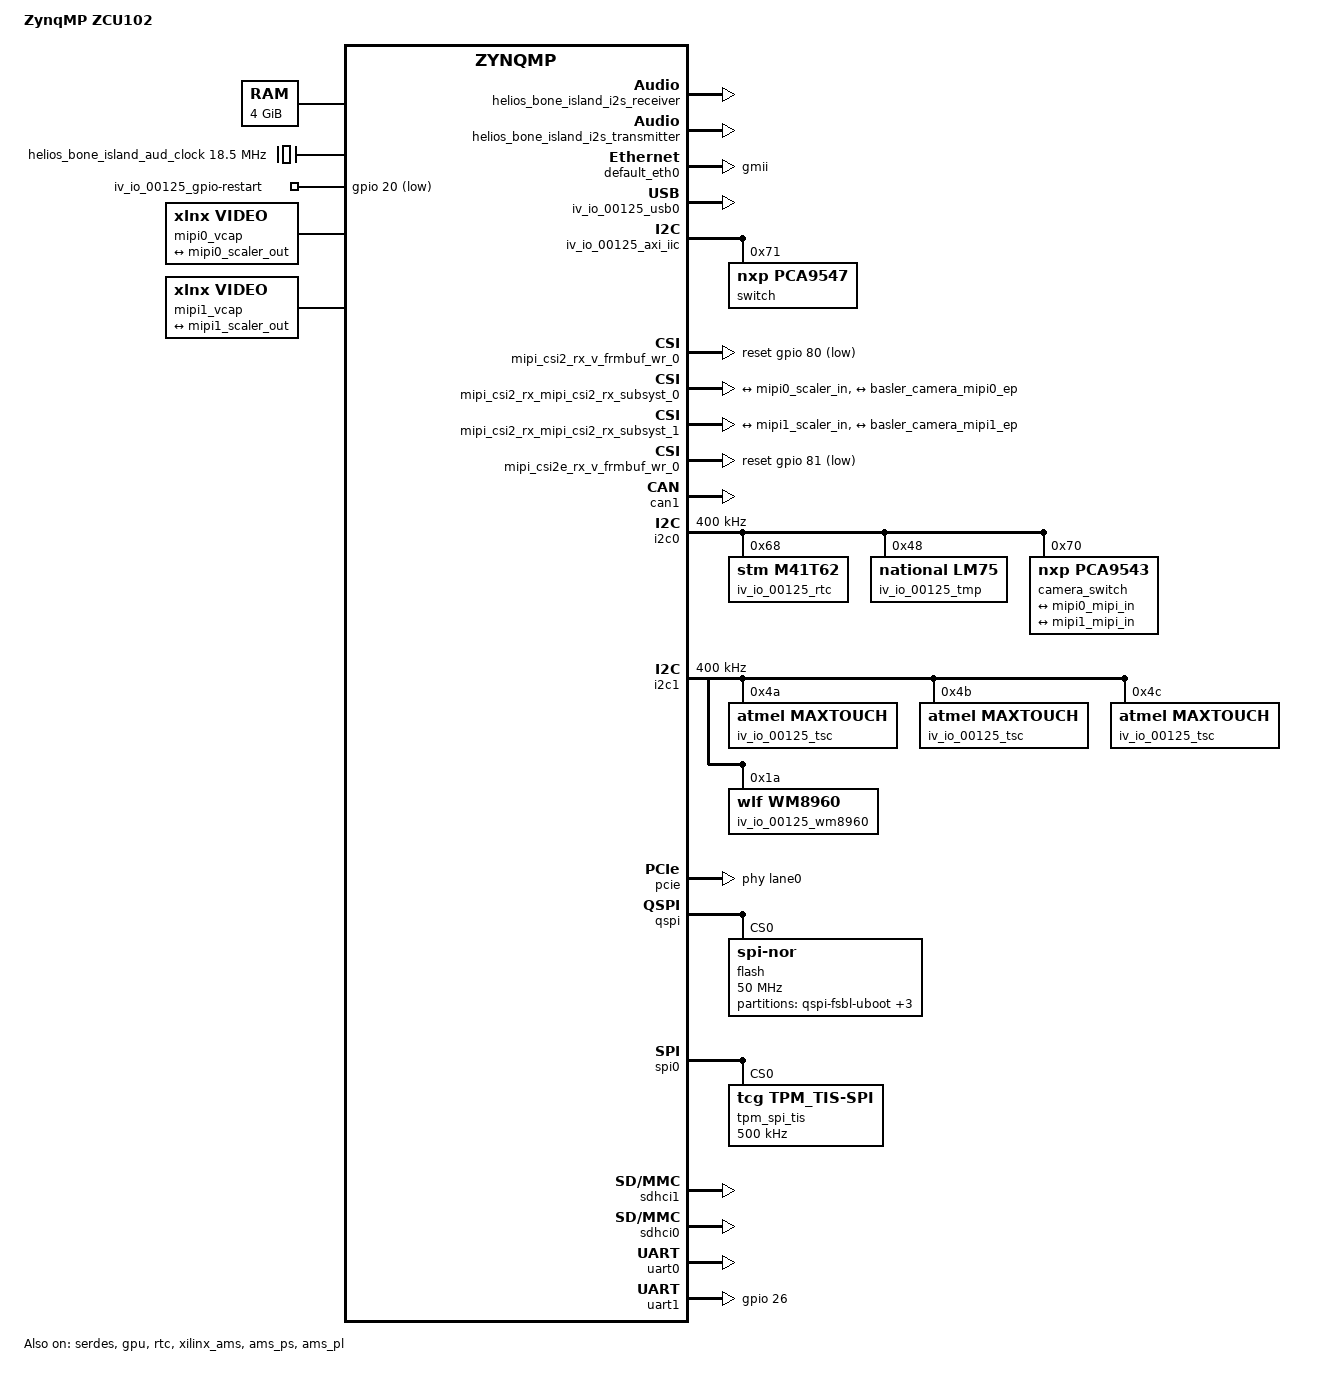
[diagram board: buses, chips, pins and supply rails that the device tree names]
/*
* dts file for iVeia Atlas helios module
*
*
* Maxwell Walter <mwalter@iveia.com>
*
* This program is free software; you can redistribute it and/or
* modify it under the terms of the GNU General Public License as
* published by the Free Software Foundation; either version 2 of
* the License, or (at your option) any later version.
*/

/dts-v1/;

#include "zynqmp.dtsi"
#include "zynqmp-clk-ccf.dtsi"
#include <dt-bindings/gpio/gpio.h>
#include <dt-bindings/phy/phy.h>

/ {
	model = "ZynqMP ZCU102";
	compatible = "xlnx,zynqmp-zcu102", "xlnx,zynqmp";
	#address-cells = <2>;
	#size-cells = <1>;


	aliases {
		//ethernet0 = &gem0;
		gpio0 = &gpio;
		i2c0 = &i2c0;
		i2c1 = &i2c1;
		rtc0 = &rtc;
		serial0 = &uart0;
		serial1 = &uart1;
		spi0 = &qspi;
		//usb0 = &usb0;
		//usb1 = &iv_usb1;
	};

	chosen {
                //		bootargs = "console=ttyPS1,115200n8 earlycon=cdns,mmio,0xff010000,115200n8 init=/init video=DP-1:1024x768@60 root=/dev/mmcblk0p2 rw rootfstype=ext4 drm.debug=0xf rootwait androidboot.selinux=disabled androidboot.hardware=zcu102 qemu=1";
		bootargs = "console=ttyPS1,115200n8 single root=/dev/mmcblk0p3 rw rootfstype=ext4 rootwait rw earlyprintk loglevel=9";
                //		bootargs = "console=ttyPS1,115200n8 rw earlyprintk loglevel=9";
		stdout-path = "serial1:115200n8";
	};

	memory {
		device_type = "memory";
		reg = <0x0 0x0 0x80000000>, <0x8 0x00000000 0x80000000>;
	};


};


&amba {

	helios_bone_island_aud_clock: iv_io_00125_oscillator {
		compatible = "fixed-clock";
		#clock-cells = <1>;
		clock-frequency  = <18500000>;
		clock-output-names = "aud_clock";
	};

	helios_bone_island_i2s_receiver: iv_io_00125_i2s_receiver@80020000 {
		compatible = "xlnx,i2s-receiver-1.0";
		reg = <0x0 0x80020000 0x0 0x10000>;
		xlnx,dwidth = <0x10>;
		xlnx,num-channels = <1>;
		xlnx,snd-pcm = <&helios_bone_island_audio_audio_formatter>;
		audio-codec = <&iv_io_00125_wm8960>;
	};

	helios_bone_island_i2s_transmitter: iv_io_00125_i2s_transmitter@80010000 {
		compatible = "xlnx,i2s-transmitter-1.0";
		reg = <0x0 0x80010000 0x0 0x10000>;
		xlnx,dwidth = <0x10>;
		xlnx,num-channels = <1>;
		xlnx,snd-pcm = <&helios_bone_island_audio_audio_formatter>;
		audio-codec = <&iv_io_00125_wm8960>;
	};

	helios_bone_island_audio_audio_formatter: iv_io_00125_audio_formatter@80000000 {
		compatible = "xlnx,audio-formatter-1.0";
		interrupt-names = "irq_mm2s", "irq_s2mm";
		interrupt-parent = <&gic>;
		interrupts = <0 89 4>, <0 90 4>;
		reg = <0x0 0x80000000 0x0 0x1000>;
		xlnx,tx = <&helios_bone_island_i2s_transmitter>;
		xlnx,rx = <&helios_bone_island_i2s_receiver>;
		clock-names = "s_axi_lite_aclk", "aud_mclk";
		clocks = <&clk 72>, <&helios_bone_island_aud_clock 0>;
	};

	sv_driver_plat@80000000 {
		compatible = "xlnx,sv_driver_plat";
		interrupt-parent = <&gic>;
		interrupts = <0x0 106 0x4>;
		reg = <0x0 0x80000000 0x0 0x1000 0x0 0x80001000 0x0 0x1000 0x0 0x80002000 0x0 0x1000 0x0 0x88000000 0x0 0x4000000 0x0 0x8C000000 0x0 0x4000000>;
	};

        //ETH0
	default_eth0: NOT_iv_io_00110_NOT_iv_io_00093_NOT_iv_io_00073_ethernet@ff0b0000 {
		compatible = "cdns,zynqmp-gem";
		status = "okay";
		phy-mode = "gmii";
		interrupt-parent = <&gic>;
		interrupts = <0 57 4>, <0 57 4>;
		reg = <0x0 0xff0b0000 0x0 0x1000>;
		clocks = <&clk 45>, <&clk 45>, <&clk 49>;
		clock-names = "pclk", "tx_clk", "hclk";
		#address-cells = <1>;
		#size-cells = <0>;
		#stream-id-cells = <1>;
		iommus = <&smmu 0x874>;
		power-domains = <&pd_eth0>;
	};


	iv_io_00125_usb0: iv_io_00125_usb0 {
		#address-cells = <2>;
		#size-cells = <2>;
		status = "okay";
		compatible = "xlnx,zynqmp-dwc3";
		reg = <0x0 0xff9d0000 0x0 0x100>;
		clock-names = "bus_clk", "ref_clk";
		#stream-id-cells = <1>;
		iommus = <&smmu 0x860>;
		power-domains = <&pd_usb0>;
		ranges;
		nvmem-cells = <&soc_revision>;
		nvmem-cell-names = "soc_revision";
                clocks = <&clk 32>,  <&clk 34>;

		boneisland_dwc: dwc3@fe200000 {
			compatible = "snps,dwc3";
			status = "okay";
			reg = <0x0 0xfe200000 0x0 0x40000>;
			interrupt-parent = <&gic>;
			interrupts = <0 65 4>, <0 69 4>;
			snps,quirk-frame-length-adjustment = <0x20>;
			snps,refclk_fladj;

	                dr_mode = "host";
		};
	};

        iv_io_00125_axi_iic: i2c@80002000 {
		#size-cells = <0>;
		#address-cells = <1>;
		compatible = "xlnx,xps-iic-2.00.a";
                clocks = <&clk 72>;
                clock-names = "pclk";
		interrupt-parent = <&gic>;
		interrupts = < 0 95 4 >;
		reg = < 0x0 0x80002000 0x0 0x1000 >;

    	        switch@71 {
                        compatible = "nxp,pca9547";
                        #address-cells = <1>;
                        #size-cells = <0>;
                        reg = <0x71>;
		        i2c@0 {
	                        #address-cells = <1>;
                                #size-cells = <0>;
                                reg = <0>;
			        
                        };
    		        i2c@1 {
    	                        #address-cells = <1>;
                                #size-cells = <0>;
                                reg = <0>;
			        
                        };
    		        i2c@2 {
    	                        #address-cells = <1>;
                                #size-cells = <0>;
                                reg = <0>;
    			        
                        };
    		        i2c@3 {
    	                        #address-cells = <1>;
                                #size-cells = <0>;
                                reg = <0>;
    			        
                        };
    		        i2c@4 {
    	                        #address-cells = <1>;
                                #size-cells = <0>;
                                reg = <0>;
    			        
                        };
    		        i2c@5 {
    	                        #address-cells = <1>;
                                #size-cells = <0>;
                                reg = <0>;
			        
                        };
    		        i2c@6 {
    	                        #address-cells = <1>;
                                #size-cells = <0>;
                                reg = <0>;
			        
                        };
                };

	};

        iv_io_00125_gpio-restart {
	        compatible = "gpio-restart";
	        gpios = <&gpio 20 GPIO_ACTIVE_LOW>;
	        priority = <128>;
	        active-delay = <100>;
	        inactive-delay = <100>;
	        wait-delay = <3000>;
        };


	misc_clk_0: misc_clk_0 {
		#clock-cells = <0>;
		clock-frequency = <300000000>;
		compatible = "fixed-clock";
	};
        misc_clk_1: misc_clk_1 {
		#clock-cells = <0>;
		clock-frequency = <199980021>;
		compatible = "fixed-clock";
	};
	misc_clk_2: misc_clk_2 {
		#clock-cells = <0>;
		clock-frequency = <33330003>;
		compatible = "fixed-clock";
	};

	mipi_csi2_rx_v_frmbuf_wr_0: v_frmbuf_wr@a0260000 {
		#dma-cells = <1>;
		clock-names = "ap_clk";
		clocks = <&misc_clk_0>;
		//clocks = <&zynqmp_clk 72>;
		compatible = "xlnx,v-frmbuf-wr-2", "xlnx,axi-frmbuf-wr-v2";
		interrupt-names = "interrupt";
		interrupt-parent = <&gic>;
		interrupts = <0 106 4>;
		reg = <0x0 0xa0260000 0x0 0x10000>;
		reset-gpios = <&gpio 80 1>;
		xlnx,dma-addr-width = <32>;
		xlnx,dma-align = <16>;
		xlnx,max-width = <4208>;
		xlnx,max-height = <3120>;
		xlnx,pixels-per-clock = <2>;
		xlnx,s-axi-ctrl-addr-width = <0x7>;
		xlnx,s-axi-ctrl-data-width = <0x20>;
		xlnx,vid-formats = "bgr888", "xbgr8888", "xrgb8888", "uyvy", "y8", "vuy888", "xvuy8888", "yuyv", "nv12", "nv16";
		xlnx,video-width = <8>;
	};
  
        mipi_csi2_rx_mipi_csi2_rx_subsyst_0: mipi_csi2_rx_subsystem@a0000000 {
		clock-names = "lite_aclk", "dphy_clk_200M", "video_aclk";
		clocks = <&clk 71>, <&misc_clk_1>, <&clk 72>;
		compatible = "xlnx,mipi-csi2-rx-subsystem-3.0";
		interrupt-names = "csirxss_csi_irq";
                status = "okay";
		interrupt-parent = <&gic>;
		interrupts = <0 105 4>;
		reg = <0x0 0xa0000000 0x0 0x10000>;
		xlnx,axis-tdata-width = <32>;
		xlnx,cal-mode = "NONE";
		xlnx,clk-io-swap = "false";
		xlnx,clk-lane-io-position = <0x6>;
		xlnx,clk-lp-io-swap = "false";
		xlnx,csi-en-activelanes = "false";
		xlnx,csi-en-crc = "true";
		xlnx,csi-filter-userdatatype = "true";
		xlnx,csi-opt1-regs = "false";
		xlnx,csi-pxl-format = "YUV422_8bit";
		xlnx,csi2rx-dbg = <0x0>;
		xlnx,data-lane0-io-position = <0x2>;
		xlnx,data-lane1-io-position = <0x4>;
		xlnx,data-lane2-io-position = <0x8>;
		xlnx,data-lane3-io-position = <0x0>;
		xlnx,dl0-io-swap = "false";
		xlnx,dl0-lp-io-swap = "false";
		xlnx,dl1-io-swap = "false";
		xlnx,dl1-lp-io-swap = "false";
		xlnx,dl2-io-swap = "false";
		xlnx,dl2-lp-io-swap = "false";
		xlnx,dl3-io-swap = "false";
		xlnx,dl3-lp-io-swap = "false";
		xlnx,dphy-lanes = <0x4>;
		xlnx,dphy-mode = "SLAVE";
		xlnx,en-bg0-pin0 = "false";
		xlnx,en-bg0-pin6 = "false";
		xlnx,en-bg1-pin0 = "false";
		xlnx,en-bg1-pin6 = "false";
		xlnx,en-bg2-pin0 = "false";
		xlnx,en-bg2-pin6 = "false";
		xlnx,en-bg3-pin0 = "false";
		xlnx,en-bg3-pin6 = "false";
		xlnx,en-clk300m = "false";
		xlnx,en-cnts-byte-clk = "false";
		xlnx,en-csi-v2-0 = "false";
		xlnx,en-exdesigns = "false";
		xlnx,en-timeout-regs = "false";
		xlnx,en-vcx = "false";
		xlnx,esc-timeout = <0x6400>;
		xlnx,exdes-board = "ZCU102";
		xlnx,exdes-config = "MIPI_Video_Pipe_Camera_to_Display";
		xlnx,exdes-fmc = "LI-IMX274MIPI-FMC V1.0 Single Sensor";
		xlnx,fifo-rd-en-control = "true";
		xlnx,hs-line-rate = <0x4b0>;
		xlnx,hs-settle-ns = <0x8f>;
		xlnx,hs-timeout = <0x10005>;
		xlnx,idly-group-name = "mipi_csi2rx_idly_group";
		xlnx,idly-tap = <0x1>;
		xlnx,init = <0x186a0>;
		xlnx,is-7series = "false";
		xlnx,is-versal = "false";
		xlnx,max-lanes = <4>;
		xlnx,mipi-slv-int = <0x0>;
		xlnx,ppc = <2>;
		xlnx,rcve-alt-deskew-seq = "false";
		xlnx,rcve-deskew-seq = "false";
		xlnx,share-idlyctrl = "false";
		xlnx,stretch-line-rate = <0x9c4>;
		xlnx,vc = <4>;
		xlnx,vfb ;

		mipi0_ports: ports {
			#address-cells = <0x1>;
			#size-cells = <0x0>;
                        
			mipi0_port0: port@0 {
				reg = <0x0>;
                                //xlnx,cfa-pattern = "rggb";
				xlnx,video-format = <0x0>;
				xlnx,video-width = <0x8>;
                                
				mipi0_mipi_out: endpoint {
					remote-endpoint = <&mipi0_scaler_in>;
				};
			};
			mipi0_port1: port@1 {
				reg = <0x1>;
                                //xlnx,cfa-pattern = "rggb";
				xlnx,video-format = <0x0>;
				xlnx,video-width = <0x8>;
                                
				mipi0_mipi_in: endpoint {
                                        remote-endpoint = <&basler_camera_mipi0_ep>;
                                        //remote-endpoint = <&dummy_in02>;
				};
			};
		};
        };

	iveia_scaler {
		compatible = "iveia,passthrough";
		#address-cells = <0x01>;
		#size-cells = <0x00>;
		//clocks = <0x34>;
		//reset-gpios = <0x32 0x51 0x01>;
		reg = <0x00 0xa0041000 0x00 0x10000>;
                
		ports {
			#address-cells = <0x01>;
			#size-cells = <0x00>;
                        
			port@0 {
				reg = <0x00>;
				xlnx,video-format = <0x00>;
				xlnx,video-width = <0x08>;
                                
				mipi0_scaler_out:endpoint {
					remote-endpoint = <&mipi0_vcap_in>;
				};
			};
                        
			port@1 {
				reg = <0x01>;
				xlnx,video-format = <0x00>;
				xlnx,video-width = <0x08>;
                                
				mipi0_scaler_in:endpoint {
					remote-endpoint = <&mipi0_mipi_out>;
				};
			};
		};
	};

	mipi0_vcap {
		compatible = "xlnx,video";
		dma-names = "port0";
		dmas = <&mipi_csi2_rx_v_frmbuf_wr_0 0x0>;

		mipi0_vcap_ports: ports {
			#address-cells = <0x1>;
			#size-cells = <0x0>;

			mipi0_port: port@0 {
				direction = "input";
				reg = <0x0>;

				mipi0_vcap_in: endpoint {
					remote-endpoint = <&mipi0_scaler_out>;
				};
			};
		};
	};

        mipi_csi2_rx_mipi_csi2_rx_subsyst_1: mipi_csi2_rx_subsystem@a0010000 {
		clock-names = "lite_aclk", "dphy_clk_200M", "video_aclk";
		clocks = <&clk 71>, <&misc_clk_1>, <&clk 72>;
		compatible = "xlnx,mipi-csi2-rx-subsystem-3.0";
		interrupt-names = "csirxss_csi_irq";
                status = "okay";
		interrupt-parent = <&gic>;
		interrupts = <0 108 4>;
		reg = <0x0 0xa0010000 0x0 0x10000>;
		xlnx,axis-tdata-width = <32>;
		xlnx,cal-mode = "NONE";
		xlnx,clk-io-swap = "false";
		xlnx,clk-lane-io-position = <0x6>;
		xlnx,clk-lp-io-swap = "false";
		xlnx,csi-en-activelanes = "false";
		xlnx,csi-en-crc = "true";
		xlnx,csi-filter-userdatatype = "true";
		xlnx,csi-opt1-regs = "false";
		xlnx,csi-pxl-format = "YUV422_8bit";
		xlnx,csi2rx-dbg = <0x0>;
		xlnx,data-lane0-io-position = <0x2>;
		xlnx,data-lane1-io-position = <0x4>;
		xlnx,data-lane2-io-position = <0x8>;
		xlnx,data-lane3-io-position = <0x0>;
		xlnx,dl0-io-swap = "false";
		xlnx,dl0-lp-io-swap = "false";
		xlnx,dl1-io-swap = "false";
		xlnx,dl1-lp-io-swap = "false";
		xlnx,dl2-io-swap = "false";
		xlnx,dl2-lp-io-swap = "false";
		xlnx,dl3-io-swap = "false";
		xlnx,dl3-lp-io-swap = "false";
		xlnx,dphy-lanes = <0x4>;
		xlnx,dphy-mode = "SLAVE";
		xlnx,en-bg0-pin0 = "false";
		xlnx,en-bg0-pin6 = "false";
		xlnx,en-bg1-pin0 = "false";
		xlnx,en-bg1-pin6 = "false";
		xlnx,en-bg2-pin0 = "false";
		xlnx,en-bg2-pin6 = "false";
		xlnx,en-bg3-pin0 = "false";
		xlnx,en-bg3-pin6 = "false";
		xlnx,en-clk300m = "false";
		xlnx,en-cnts-byte-clk = "false";
		xlnx,en-csi-v2-0 = "false";
		xlnx,en-exdesigns = "false";
		xlnx,en-timeout-regs = "false";
		xlnx,en-vcx = "false";
		xlnx,esc-timeout = <0x6400>;
		xlnx,exdes-board = "ZCU102";
		xlnx,exdes-config = "MIPI_Video_Pipe_Camera_to_Display";
		xlnx,exdes-fmc = "LI-IMX274MIPI-FMC V1.0 Single Sensor";
		xlnx,fifo-rd-en-control = "true";
		xlnx,hs-line-rate = <0x4b0>;
		xlnx,hs-settle-ns = <0x8f>;
		xlnx,hs-timeout = <0x10005>;
		xlnx,idly-group-name = "mipi_csi2rx_idly_group";
		xlnx,idly-tap = <0x1>;
		xlnx,init = <0x186a0>;
		xlnx,is-7series = "false";
		xlnx,is-versal = "false";
		xlnx,max-lanes = <4>;
		xlnx,mipi-slv-int = <0x0>;
		xlnx,ppc = <2>;
		xlnx,rcve-alt-deskew-seq = "false";
		xlnx,rcve-deskew-seq = "false";
		xlnx,share-idlyctrl = "false";
		xlnx,stretch-line-rate = <0x9c4>;
		xlnx,vc = <4>;
		xlnx,vfb ;

		mipi1_ports: ports {
			#address-cells = <0x1>;
			#size-cells = <0x0>;
                        
			mipi1_port0: port@0 {
				reg = <0x0>;
                                //xlnx,cfa-pattern = "rggb";
				xlnx,video-format = <0x0>;
				xlnx,video-width = <0x8>;
                                
				mipi1_mipi_out: endpoint {
					remote-endpoint = <&mipi1_scaler_in>;
				};
			};
			mipi1_port1: port@1 {
				reg = <0x1>;
                                //xlnx,cfa-pattern = "rggb";
				xlnx,video-format = <0x0>;
				xlnx,video-width = <0x8>;
                                
				mipi1_mipi_in: endpoint {
                                        remote-endpoint = <&basler_camera_mipi1_ep>;
                                        //remote-endpoint = <&dummy_in02>;
				};
			};
		};
        };

	iveia1_scaler {
		compatible = "iveia,passthrough";
		#address-cells = <0x01>;
		#size-cells = <0x00>;
		//clocks = <0x34>;
		//reset-gpios = <0x32 0x51 0x01>;
		reg = <0x00 0xa0041200 0x00 0x10000>;
                
		ports {
			#address-cells = <0x01>;
			#size-cells = <0x00>;
                        
			port@0 {
				reg = <0x00>;
				xlnx,video-format = <0x00>;
				xlnx,video-width = <0x08>;
                                
				mipi1_scaler_out:endpoint {
					remote-endpoint = <&mipi1_vcap_in>;
				};
			};
                        
			port@1 {
				reg = <0x01>;
				xlnx,video-format = <0x00>;
				xlnx,video-width = <0x08>;
                                
				mipi1_scaler_in:endpoint {
					remote-endpoint = <&mipi1_mipi_out>;
				};
			};
		};
	};

	mipi_csi2e_rx_v_frmbuf_wr_0: v_frmbuf_wr@a0030000 {
		#dma-cells = <1>;
		clock-names = "ap_clk";
		clocks = <&misc_clk_0>;
		//clocks = <&zynqmp_clk 72>;
		compatible = "xlnx,v-frmbuf-wr-2", "xlnx,axi-frmbuf-wr-v2";
		interrupt-names = "interrupt";
		interrupt-parent = <&gic>;
		interrupts = <0 107 4>;
		reg = <0x0 0xa0030000 0x0 0x10000>;
		reset-gpios = <&gpio 81 1>;
		xlnx,dma-addr-width = <32>;
		xlnx,dma-align = <16>;
		xlnx,max-width = <4208>;
		xlnx,max-height = <3120>;
		xlnx,pixels-per-clock = <1>;
		xlnx,s-axi-ctrl-addr-width = <0x7>;
		xlnx,s-axi-ctrl-data-width = <0x20>;
		xlnx,vid-formats = "bgr888", "xbgr8888", "xrgb8888", "uyvy", "y8", "vuy888", "xvuy8888", "yuyv", "nv12", "nv16";
		xlnx,video-width = <8>;
	};

        mipi1_vcap {
		compatible = "xlnx,video";
		dma-names = "port0";
		dmas = <&mipi_csi2e_rx_v_frmbuf_wr_0 0x0>;

		mipi0e_vcap_ports: ports {
			#address-cells = <0x1>;
			#size-cells = <0x0>;

			mipi1_port: port@0 {
				direction = "input";
				reg = <0x0>;

				mipi1_vcap_in: endpoint {
					remote-endpoint = <&mipi1_scaler_out>;
				};
			};
		};
	};

        // We need userspace access to a physically contiguous region of memory
        //  to allow for userptr v4l2 control.
        // Using mmap is incredibly slow
        // The size needs to be big enough for:
        //  sum_over_cameras(camera_frame_size * number_of_v4l2_buffers)
        udmabuf0@0x00 {
                compatible = "ikwzm,u-dma-buf";
                device-name = "udmabuf0";
                //size = <0x02800000>; // lower res camera - 4 buffers
                //size = <0x342B000>; // higher res camera - 2 buffers
                size = <0x720000>; // smaller camera scaled
        };
        udmabuf1@0x01 {
                compatible = "ikwzm,u-dma-buf";
                device-name = "udmabuf1";
                //size = <0x02800000>; // lower res camera - 4 buffers
                //size = <0x342B000>; // Higher res camera - 2 buffers
                size = <0x720000>; // smaller camera scaled
        };

}; // end amba


&pss_ref_clk {
        clock-frequency = <50000000>;
};

&fclk0 {
	status = "okay";
};

&fclk1 {
	status = "okay";
};

&fclk2 {
	status = "okay";
};

&fclk3 {
	status = "okay";
};

&serdes {
	status = "okay";
};

&can1 {
	status = "okay";
};

&gpio {
	status = "okay";
};

&gpu {
	status = "okay";
};

&i2c0 {
	status = "okay";
	clock-frequency = <400000>;

        iv_io_00125_rtc@68 {
                compatible = "stm,m41t62";
                reg = <0x68>;
        };
        
        iv_io_00125_tmp@48 {
		compatible = "national,lm75";
		reg = <0x48>;	
	};

        camera_switch@70 {
                compatible = "nxp,pca9543";
                #address-cells = <1>;
                #size-cells = <0>;
                reg = <0x70>;
                
                camera_switch@0 {
                        #address-cells = <1>;
                        #size-cells = <0>;
                        reg = <0>;
                        basler_camera_mipi0: basler_camera_mipi0@36 {
                                compatible = "iveia,basler-mipi";
                                reg = <0x36>;
                                status = "okay";
                                
                                port {
                                        basler_camera_mipi0_ep: endpoint {
                                                //remote-endpoint = <&mipi1_sensor_ep>;
                                                //remote-endpoint = <&dummy_control>;
                                                remote-endpoint = <&mipi0_mipi_in>;
                                                
                                                // IMPORTANT: The following three entries needs to be held
                                                // in sync with the information stored in the mipi1_sensor_ep node. 
                                                data-lanes = <1 2 3 4>;
                                                clock-lanes = <0>;
                                                link-frequencies = /bits/ 64 <120000000>;
                                        };
                                };
                                
                        };
                        
                };

                camera_switch_70@1 {
                        #address-cells = <1>;
                        #size-cells = <0>;
                        reg = <1>;

                        basler_camera_mipi1: basler_camera_mipi1@36 {
                                compatible = "iveia,basler-mipi";
                                reg = <0x36>;
                                status = "okay";
                                
                                port {
                                        basler_camera_mipi1_ep: endpoint {
                                                remote-endpoint = <&mipi1_mipi_in>;
                                                
                                                // IMPORTANT: The following three entries needs to be held
                                                // in sync with the information stored in the mipi1_sensor_ep node.
                                                data-lanes = <1 2 3 4>;
                                                clock-lanes = <0>;
                                                link-frequencies = /bits/ 64 <248000000>;
                                        };
                                };
                        };
                };
        }; // end switch@70                        
}; // end i2c0

&i2c1 {
	status = "okay";
	clock-frequency = <400000>;

        iv_io_00125_tsc@4a {
	        reg = <0x4a>;
	        compatible = "atmel,maxtouch";
	        interrupt-parent = <&gic>;
	        interrupts = <0 94 4>;
        };

        iv_io_00125_tsc@4b {
	        reg = <0x4b>;
	        compatible = "atmel,maxtouch";
	        interrupt-parent = <&gic>;
	        interrupts = <0 94 4>;
        };
        
        iv_io_00125_tsc@4c {
	        reg = <0x4c>;
	        compatible = "atmel,maxtouch";
	        interrupt-parent = <&gic>;
	        interrupts = <0 94 4>;
        };

        iv_io_00125_wm8960: iv_io_00125_wm8960@1a {//Atlas-I-Z8 on Bone-Island Carrier
		compatible = "wlf,wm8960";
		//#address-cells = <1>;
		//#size-cells = <0>;
		reg = <0x1a>;
	};


};

&pcie {
	status = "okay";
	phys = <&lane0 PHY_TYPE_PCIE 0 0 100000000>;
};

&qspi {
        status = "okay";
        is-dual = <0>;
        flash@0 {
                compatible = "jedec,spi-nor";
                #address-cells = <1>;
                #size-cells = <1>;
                reg = <0x0>;
                spi-max-frequency = <50000000>;
                partition@qspi-fsbl-uboot {
                        label = "qspi-fsbl-uboot";
                        reg = <0x0 0x0fd000>;
                };
                partition@qspi-user-info{
                        label = "qspi-user-info";
                        reg = <0x0fd000 0x1000>;
                };
                partition@qspi-io-board-info{
                        label = "qspi-io-board-info";
                        reg = <0x0fe000 0x1000>;
                };
                partition@qspi-mb-board-info{
                        label = "qspi-mb-board-info";
                        reg = <0x0ff000 0x1000>;
                }; 

        };
};

&spi0 {
	status = "okay";

	tpm_spi_tis@0{
		compatible = "tcg,tpm_tis-spi";
 		reg = <0>;	/* CE0 */
 		spi-max-frequency = <500000>;
 	};
};

&rtc {
	status = "okay";
};

/* SD1 with level shifter */
&sdhci1 {
	status = "okay";
	no-1-8-v;
	xlnx,mio_bank = <1>;

        //    bus-width = <0x4>;
        //    vmmc-supply = <&lwb_reg>;

        max-frequency = <40000000>;

        disable-wp;
	non-removeable;
        //	cap-power-off-card;
};

&sdhci0 {
	status = "okay";
	no-1-8-v;
	xlnx,mio_bank = <0>;

        max-frequency = <40000000>;

        disable-wp;
	non-removeable;
};

&uart0 {
	status = "okay";
};

&uart1 {
	status = "okay";
        compatible = "iveia,xuartps-rs485";
	gpios = <&gpio 26 GPIO_ACTIVE_HIGH>;
};

&xilinx_ams {
	status = "okay";
};

&ams_ps {
	status = "okay";
};

&ams_pl {
	status = "okay";
};
